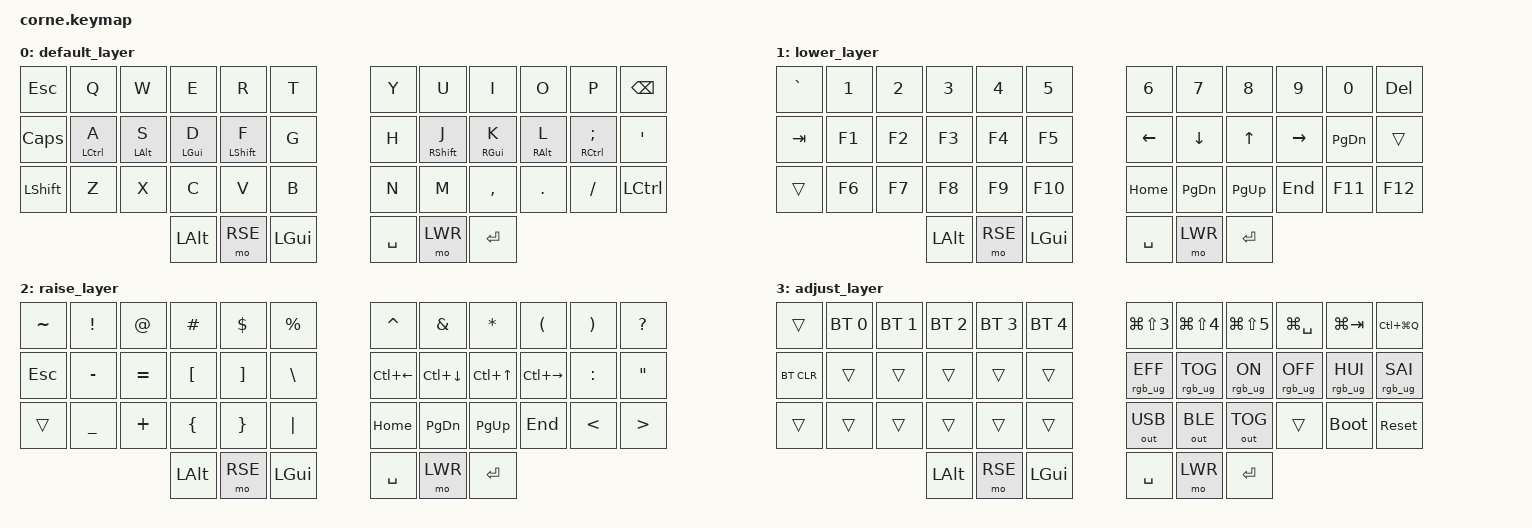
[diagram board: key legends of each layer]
/*
 * Copyright (c) 2020 The ZMK Contributors
 *
 * SPDX-License-Identifier: MIT
 */

#include <behaviors.dtsi>
#include <dt-bindings/zmk/bt.h>
#include <dt-bindings/zmk/keys.h>
#include <dt-bindings/zmk/outputs.h>
#include <dt-bindings/zmk/rgb.h>

#define DEF 0
#define LWR 1
#define RSE 2
#define ADJ 3

/ {
    behaviors {
        // Bilateral home-row modifiers: 120+ WPM prose profile. A 250 ms prior-idle
        // gate resolves active letter rolls as taps; balanced opposite-hand release
        // keeps deliberate chords usable. The 300 ms term requires a deliberate hold;
        // 175 ms quick-tap keeps repeated letter taps responsive.
        hm_l: home_row_mod_left {
            compatible = "zmk,behavior-hold-tap";
            #binding-cells = <2>;
            flavor = "balanced";
            require-prior-idle-ms = <250>;
            tapping-term-ms = <300>;
            quick-tap-ms = <175>;
            bindings = <&kp>, <&kp>;
            // Right half: rows 0-2 (6-11, 18-23, 30-35), then thumbs (39-41).
            hold-trigger-key-positions = <6 7 8 9 10 11 18 19 20 21 22 23 30 31 32 33 34 35 39 40 41>;
            hold-trigger-on-release;
        };

        hm_r: home_row_mod_right {
            compatible = "zmk,behavior-hold-tap";
            #binding-cells = <2>;
            flavor = "balanced";
            require-prior-idle-ms = <250>;
            tapping-term-ms = <300>;
            quick-tap-ms = <175>;
            bindings = <&kp>, <&kp>;
            // Left half: rows 0-2 (0-5, 12-17, 24-29), then thumbs (36-38).
            hold-trigger-key-positions = <0 1 2 3 4 5 12 13 14 15 16 17 24 25 26 27 28 29 36 37 38>;
            hold-trigger-on-release;
        };
    };

    conditional_layers {
        compatible = "zmk,conditional-layers";

        tri_layer {
            if-layers = <LWR RSE>;
            then-layer = <ADJ>;
        };
    };

    keymap {
        compatible = "zmk,keymap";

        default_layer {
            // LAYER 0: DEF - macOS Corne QWERTY with bilateral home-row modifiers.
            // Tap/hold: A Ctrl, S Option (Alt), D Command (GUI), F Shift; J Shift,
            // K Command (GUI), L Option (Alt), ; Ctrl. This preserves macOS's
            // Control-Option-Command-Shift ordering from the left edge inward.
            // Binding order after the 36 finger keys is the six physical thumbs:
            // left outer->inner: LALT, RAISE, CMD; right inner->outer: SPACE, LOWER, ENTER.
            // This puts macOS Command (LGUI) on the inner-left thumb and Space on the inner-right thumb.
            // -----------------------------------------------------------------------------------------
            // | ESC  |  Q  |  W  |  E  |  R  |  T  |   |  Y  |  U  |  I  |  O  |  P  | BSPC |
            // | CAPS |A/Ctrl|S/Opt|D/Cmd|F/Shft| G  |   |  H  |J/Shft|K/Cmd|L/Opt|;/Ctrl|  '   |
            // | SHFT |  Z  |  X  |  C  |  V  |  B  |   |  N  |  M  |  ,  |  .  |  /  | CTRL |
            //                    | OPT | RSE | CMD |   | SPC | LWR | RET |

            bindings = <
&kp ESC    &kp Q  &kp W  &kp E  &kp R  &kp T      &kp Y  &kp U  &kp I      &kp O    &kp P     &kp BSPC
&kp CAPS   &hm_l LCTRL A  &hm_l LALT S  &hm_l LGUI D  &hm_l LSHFT F  &kp G      &kp H  &hm_r RSHFT J  &hm_r RGUI K      &hm_r RALT L    &hm_r RCTRL SEMI  &kp SQT
&kp LSHFT  &kp Z  &kp X  &kp C  &kp V  &kp B      &kp N  &kp M  &kp COMMA  &kp DOT  &kp FSLH  &kp LCTRL
                         &kp LALT  &mo RSE  &kp LGUI     &kp SPACE  &mo LWR  &kp RET
            >;
        };

        lower_layer {
            // LAYER 1: LWR - numbers, function keys, navigation, and mirrored physical thumbs.
            // -----------------------------------------------------------------------------------------
            // |  `   |  1  |  2  |  3  |  4  |  5  |   |  6  |  7   |  8   |  9  |  0  | DEL  |
            // | TAB  | F1  | F2  | F3  | F4  | F5  |   | LFT | DWN  |  UP  | RGT | PGD |      |
            // | SHFT | F6  | F7  | F8  | F9  | F10 |   | HOM | PGDN | PGUP | END | F11 | F12  |
            //                    | OPT | RSE | CMD |   | SPC | LWR | RET |

            bindings = <
&kp GRAVE  &kp N1  &kp N2  &kp N3  &kp N4  &kp N5     &kp N6    &kp N7     &kp N8     &kp N9     &kp N0   &kp DEL
&kp TAB    &kp F1  &kp F2  &kp F3  &kp F4  &kp F5     &kp LEFT  &kp DOWN   &kp UP     &kp RIGHT  &kp PG_DN  &trans
&trans     &kp F6  &kp F7  &kp F8  &kp F9  &kp F10    &kp HOME  &kp PG_DN  &kp PG_UP  &kp END    &kp F11  &kp F12
                           &kp LALT  &mo RSE  &kp LGUI      &kp SPACE  &mo LWR  &kp RET
            >;
        };

        raise_layer {
            // LAYER 2: RSE - symbols, paired punctuation, editor resize chords, and mirrored thumbs.
            // -----------------------------------------------------------------------------------------
            // |  ~   |  !  |  @  |  #  |  $  |  %  |   |  ^  |  &   |  *   |  (  |  )  |  ?   |
            // | ESC  |  -  |  =  |  [  |  ]  |  \\  |   | C-L | C-D  | C-U  | C-R |  :  |  "   |
            // | SHFT |  _  |  +  |  {  |  }  |  |  |   | HOM | PGDN | PGUP | END |  <  |  >   |
            //                    | OPT | RSE | CMD |   | SPC | LWR | RET |

            bindings = <
&kp TILDE  &kp EXCL   &kp AT    &kp HASH  &kp DLLR  &kp PRCNT    &kp CARET  &kp AMPS   &kp STAR   &kp LPAR   &kp RPAR   &kp QUESTION
&kp ESC    &kp MINUS  &kp EQUAL &kp LBKT  &kp RBKT  &kp BSLH     &kp LC(LEFT) &kp LC(DOWN) &kp LC(UP) &kp LC(RIGHT) &kp COLON  &kp DQT
&trans     &kp UNDER  &kp PLUS  &kp LBRC  &kp RBRC  &kp PIPE     &kp HOME   &kp PG_DN  &kp PG_UP  &kp END    &kp LT     &kp GT
                              &kp LALT  &mo RSE  &kp LGUI        &kp SPACE  &mo LWR  &kp RET
            >;
        };

        adjust_layer {
            // LAYER 3: ADJ - Bluetooth, RGB, output selection, and system controls.
            // Activated by holding Lower + Raise together.
            // RGB right home order: H RGB_EFF, J RGB_TOG, K RGB_ON, L RGB_OFF, ; RGB_HUI, ' RGB_SAI.
            // Output bottom-right order: N USB, M BLE, , TOG; bootloader/reset stay on / and Ctrl.
            // -------------------------------------------------------------------------------------------------
            // |      | BT1 | BT2 | BT3 | BT4 | BT5 |   | SCRN | AREA | CAP | SPOT | APP | LOCK |
            // | BTCLR|     |     |     |     |     |   | RGBEF| RGBT | RGBON| RGBOF| RGBHU| RGBSA|
            // |      |     |     |     |     |     |   | USB  | BLE  | TOG |      | BOOT| RESET|
            //                         | OPT | RSE | CMD |   | SPC | LWR | RET |

            bindings = <
              &trans      &bt BT_SEL 0  &bt BT_SEL 1  &bt BT_SEL 2  &bt BT_SEL 3  &bt BT_SEL 4    &kp LG(LS(N3))  &kp LG(LS(N4))  &kp LG(LS(N5))  &kp LG(SPACE)  &kp LG(TAB)  &kp LC(LG(Q))
&bt BT_CLR  &trans        &trans        &trans        &trans        &trans          &rgb_ug RGB_EFF  &rgb_ug RGB_TOG  &rgb_ug RGB_ON   &rgb_ug RGB_OFF  &rgb_ug RGB_HUI  &rgb_ug RGB_SAI
&trans      &trans        &trans        &trans        &trans        &trans          &out OUT_USB     &out OUT_BLE     &out OUT_TOG     &trans          &bootloader  &sys_reset
                                        &kp LALT      &mo RSE       &kp LGUI        &kp SPACE      &mo LWR          &kp RET
            >;
        };
    };
};

// The pinned/upstream ZMK Corne nice_nano overlay defines &led_strip.
// This keymap only overrides its chain-length for a fully LED-populated Corne v3.1:
// 42 per-key SK6812 + 12 underglow WS2812 = 27 LEDs per half.
// Change chain-length to <6> if only the six underglow LEDs are soldered on each half.
&led_strip {
    chain-length = <27>;
};
